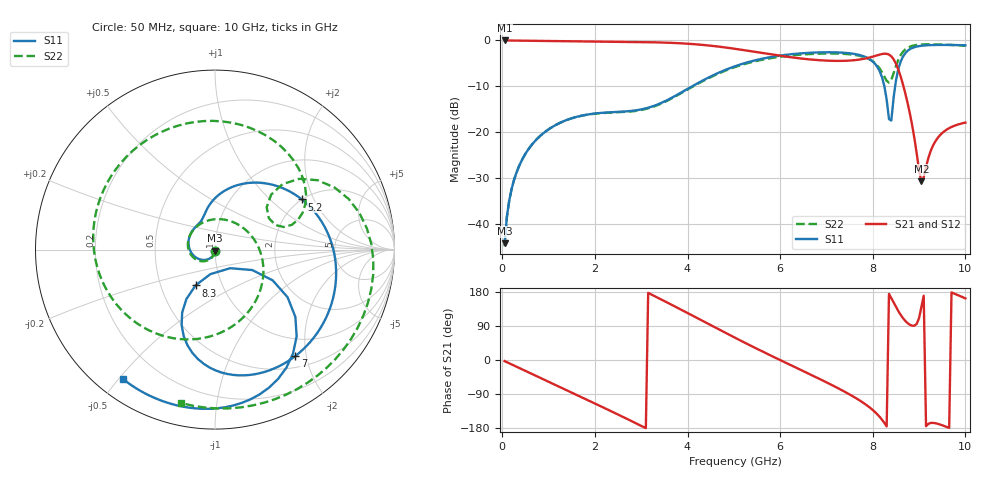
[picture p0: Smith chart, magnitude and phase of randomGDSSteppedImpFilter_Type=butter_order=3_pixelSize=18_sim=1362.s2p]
! freq	dB(S11)	phase(S11)	dB(S12)	phase(S12)
!  dB(S21)	phase(S21)	dB(S22)	phase(S22)
!S-par simulation data
#  GHz  S  DB  R 50
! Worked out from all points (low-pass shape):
!   200 points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, 50 MHz to 10 GHz, reference 50 ohm
!   highest |S21| = -0.01 dB at 50 MHz (marker M1); lowest = -30.7 dB at 9.05 GHz (marker M2)
!   |S21| within 3 dB of the highest: start of sweep to 5.778 GHz; 8.183 GHz to 8.327 GHz (143.5 MHz wide, 1.74 % of centre)
!   lowest |S11| = -44.2 dB at 50 MHz (marker M3), VSWR 1.01, Z = 50 - j0.617 ohm
!   |S11| at or under -10 dB: start of sweep to 4.1 GHz; 8.251 GHz to 8.484 GHz (232.7 MHz wide, 2.78 % of centre)
!   |S22| runs from -44.9 to -0.8 dB; largest |S21 - S12| = 0
!   S11 on the Smith chart (normalised r, x): 50 MHz: 1.00, -0.01; 5.2 GHz: 2.00, +1.62; 7 GHz: 0.68, -1.81; 8.3 GHz: 0.75, -0.31; 10 GHz: 0.08, -0.51
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0.05  -44.19 -90.7  -0.01 -2.9  -0.01 -2.9  -44.85 -90.0
0.2  -32.45 -101.6  -0.02 -11.6  -0.02 -11.6  -32.42 -100.0
0.5  -24.71 -121.2  -0.06 -28.8  -0.06 -28.8  -24.70 -116.9
1.15  -18.45 -161.0  -0.14 -66.0  -0.14 -66.0  -18.45 -152.7
1.75  -16.32 165.1  -0.22 -100.4  -0.22 -100.4  -16.35 172.1
2.65  -15.49 125.6  -0.31 -152.8  -0.31 -152.8  -15.59 106.5
3.4  -13.77 106.8  -0.44 161.7  -0.44 161.7  -13.90 34.1
4.25  -9.16 77.4  -0.90 108.0  -0.90 108.0  -9.30 -43.5
5.05  -5.54 37.7  -1.86 57.2  -1.86 57.2  -5.73 -104.7
5.2  -5.05 30.0  -2.09 47.9  -2.09 47.9  -5.25 -115.6
6  -3.30 -9.3  -3.35 -0.2  -3.35 -0.2  -3.56 -172.0
6.7  -2.66 -40.3  -4.19 -41.1  -4.19 -41.1  -2.94 137.5
7  -2.58 -52.9  -4.40 -58.9  -4.40 -58.9  -2.85 114.7
7.85  -3.64 -92.7  -3.92 -117.6  -3.92 -117.6  -3.75 44.2
8.15  -6.73 -113.8  -3.09 -150.3  -3.09 -150.3  -6.14 19.8
8.3  -12.88 -118.5  -2.92 -175.2  -2.92 -175.2  -8.79 22.2
8.35  -17.14 -100.6  -3.09 174.6  -3.09 174.6  -9.19 30.3
8.6  -4.67 -39.9  -7.79 119.6  -7.79 119.6  -3.23 34.1
8.8  -1.92 -64.0  -15.88 93.0  -15.88 93.0  -1.37 7.9
9.05  -1.16 -83.5  -30.72 139.6  -30.72 139.6  -0.89 -19.2
9.4  -0.98 -101.5  -21.28 -168.3  -21.28 -168.3  -0.87 -51.0
10  -1.06 -125.4  -17.92 162.5  -17.92 162.5  -1.16 -102.5
